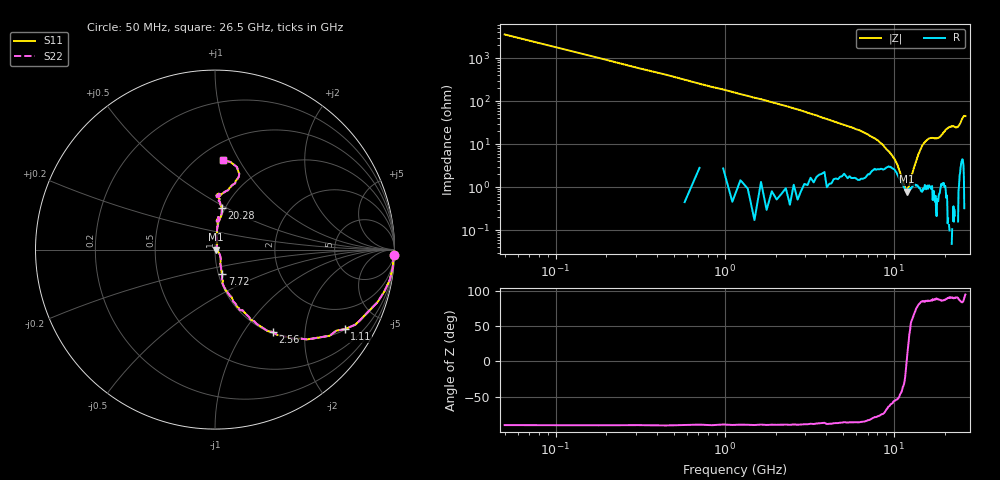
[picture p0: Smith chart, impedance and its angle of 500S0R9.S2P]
!  American Technical Ceramics  Date:  3/6/98
!  One Norden Lane
!  Huntington Station,  NY.  11746-2102
!  Tel:  (516) 547-5700  Fax:  (516) 547-5748
!  Part Number  500S0R9
!  Description: Broadband Microwave capacitor
!  Application:
# GHZ S DB R 50
! Freq  |S11|  S11 Ph  |S21|  S21 Ph  |S12|  S12 Ph  |S22|  S22 Ph
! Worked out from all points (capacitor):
!   201 points, 50 MHz to 26.5 GHz, reference 50 ohm
!   read as one part in series: C = 870 fF near 180 MHz
!   lowest |Z| = 793 mohm at 11.95 GHz (marker M1)
!   series resonance near 11.91 GHz, so ESL is about 210 pH
!   S11 on the Smith chart (normalised r, x): 50 MHz: 11, -68; 1.11 GHz: 1.03, -3.24; 2.56 GHz: 1.02, -1.37; 7.72 GHz: 1.04, -0.29; 20.28 GHz: 0.96, +0.48; 26.5 GHz: 0.65, +0.86
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0.05  -0.04 -1.6  -31.08 88.4  -31.08 88.4  -0.04 -1.6
0.18  -0.04 -5.8  -20.18 84.5  -20.18 84.5  -0.04 -5.8
0.31  -0.10 -9.7  -15.48 80.3  -15.48 80.3  -0.10 -9.7
0.58  -0.43 -17.9  -10.41 72.0  -10.41 72.0  -0.43 -17.9
1.11  -1.44 -31.6  -5.75 58.4  -5.75 58.4  -1.44 -31.6
2.56  -5.01 -54.8  -1.68 33.9  -1.68 33.9  -5.01 -54.8
4.55  -10.01 -69.8  -0.55 16.9  -0.55 16.9  -10.01 -69.8
7.72  -16.94 -73.4  -0.33 6.7  -0.33 6.7  -16.94 -73.4
8.91  -22.32 -66.2  -0.27 4.4  -0.27 4.4  -22.32 -66.2
10.37  -31.26 -39.2  -0.20 2.4  -0.20 2.4  -31.26 -39.2
11.56  -47.75 -13.4  -0.13 0.6  -0.13 0.6  -47.75 -13.4
11.95  -50.10 2.0  -0.11 -0.1  -0.11 -0.1  -50.10 2.0
13.28  -31.22 66.5  -0.11 -1.9  -0.11 -1.9  -31.22 66.5
14.07  -23.46 81.4  -0.13 -3.1  -0.13 -3.1  -23.46 81.4
15.13  -17.73 84.1  -0.21 -4.6  -0.21 -4.6  -17.73 84.1
16.58  -14.82 83.8  -0.28 -5.2  -0.28 -5.2  -14.82 83.8
17.77  -15.72 86.2  -0.23 -5.9  -0.23 -5.9  -15.72 86.2
20.28  -12.49 80.9  -0.46 -10.4  -0.46 -10.4  -12.49 80.9
22.14  -10.14 85.1  -0.81 -11.1  -0.81 -11.1  -10.14 85.1
24.25  -10.40 84.5  -0.94 -11.6  -0.94 -11.6  -10.40 84.5
25.71  -7.04 72.3  -1.55 -16.1  -1.55 -16.1  -7.04 72.3
26.5  -6.01 84.7  -1.95 -17.3  -1.95 -17.3  -6.01 84.7
